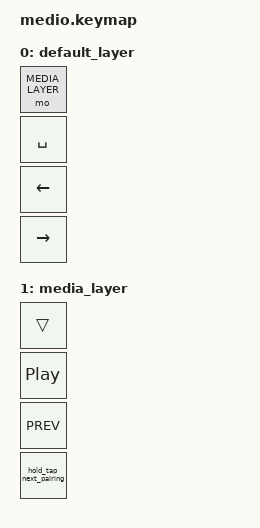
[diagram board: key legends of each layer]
#include <behaviors.dtsi>
#include <dt-bindings/zmk/keys.h>

/ {
    keymap {
        compatible = "zmk,keymap";

        default_layer {
            bindings = <
                &mo MEDIA_LAYER       // Key 1: momentary switch to media layer
                &kp SPACE             // Key 2
                &kp LEFT              // Key 3
                &kp RIGHT             // Key 4
            >;
        };

        media_layer {
            bindings = <
                &trans                        // Key 1: transparent
                &kp C_PLAY_PAUSE             // Key 2
                &kp C_PREV                    // Key 3
                &hold_tap_next_pairing       // Key 4: tap = next track, hold = bt_pair
            >;
        };
    };
};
